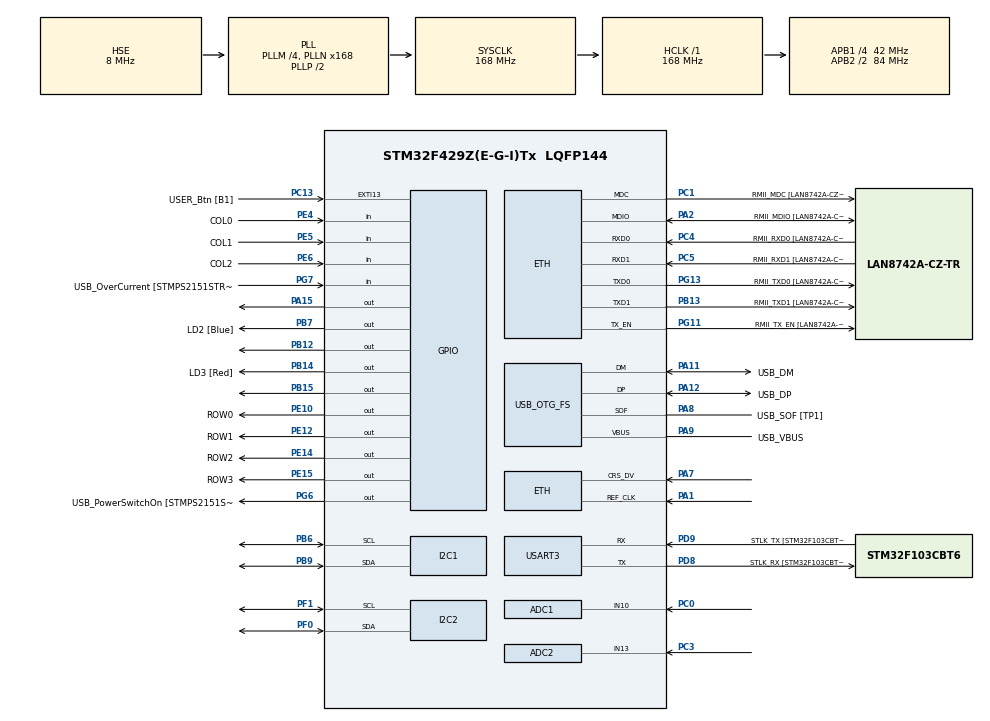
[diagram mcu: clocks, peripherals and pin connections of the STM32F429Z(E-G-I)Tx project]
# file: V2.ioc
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ADC1.Channel-12\#ChannelRegularConversion=ADC_CHANNEL_10
ADC1.ClockPrescaler=ADC_CLOCK_SYNC_PCLK_DIV4
ADC1.ContinuousConvMode=DISABLE
ADC1.DMAContinuousRequests=DISABLE
ADC1.DataAlign=ADC_DATAALIGN_RIGHT
ADC1.DiscontinuousConvMode=DISABLE
ADC1.EOCSelection=ADC_EOC_SINGLE_CONV
ADC1.EnableAnalogWatchDog=false
ADC1.ExternalTrigConv=ADC_SOFTWARE_START
ADC1.ExternalTrigConvEdge=ADC_EXTERNALTRIGCONVEDGE_NONE
ADC1.InjNumberOfConversion=0
ADC1.NbrOfConversion=1
ADC1.NbrOfConversionFlag=1
ADC1.Rank-12\#ChannelRegularConversion=1
ADC1.Resolution=ADC_RESOLUTION_12B
ADC1.SamplingTime-12\#ChannelRegularConversion=ADC_SAMPLETIME_3CYCLES
ADC1.ScanConvMode=DISABLE
ADC1.master=1
ADC2.Channel-0\#ChannelRegularConversion=ADC_CHANNEL_13
ADC2.NbrOfConversionFlag=1
ADC2.Rank-0\#ChannelRegularConversion=1
ADC2.SamplingTime-0\#ChannelRegularConversion=ADC_SAMPLETIME_3CYCLES
ETH.MediaInterface=ETH_MEDIA_INTERFACE_RMII
FREERTOS.INCLUDE_vTaskDelayUntil=1
FREERTOS.Tasks01=defaultTask,0,128,StartDefaultTask,Default,NULL,Dynamic,NULL,NULL;KeyboardListen,-3,128,KeyboardListenCallback,Default,NULL,Dynamic,NULL,NULL
FREERTOS.configTIMER_TASK_PRIORITY=4
FREERTOS.configUSE_TIMERS=1
Mcu.Family=STM32F4
Mcu.Name=STM32F429Z(E-G-I)Tx
Mcu.Package=LQFP144
NVIC.OTG_FS_IRQn=true\:5\:0\:false\:false\:true\:true\:true
NVIC.PriorityGroup=NVIC_PRIORITYGROUP_4
PA1.Mode=RMII
PA1.Signal=ETH_REF_CLK
PA10.GPIO_Label=USB_ID
PA10.Signal=USB_OTG_FS_ID
PA11.GPIO_Label=USB_DM
PA11.Mode=Device_Only
PA11.Signal=USB_OTG_FS_DM
PA12.GPIO_Label=USB_DP
PA12.Mode=Device_Only
PA12.Signal=USB_OTG_FS_DP
PA13.GPIO_Label=TMS
PA13.Mode=Serial_Wire
PA13.Signal=SYS_JTMS-SWDIO
PA14.GPIO_Label=TCK
PA14.Mode=Serial_Wire
PA14.Signal=SYS_JTCK-SWCLK
PA15.Signal=GPIO_Output
PA2.GPIO_Label=RMII_MDIO [LAN8742A-CZ-TR_MDIO]
PA2.Mode=RMII
PA2.Signal=ETH_MDIO
PA7.Mode=RMII
PA7.Signal=ETH_CRS_DV
PA8.GPIO_Label=USB_SOF [TP1]
PA8.Mode=Activate_SOF_FS
PA8.Signal=USB_OTG_FS_SOF
PA9.GPIO_Label=USB_VBUS
PA9.Mode=Activate_VBUS
PA9.Signal=USB_OTG_FS_VBUS
PB12.Signal=GPIO_Output
PB13.GPIO_Label=RMII_TXD1 [LAN8742A-CZ-TR_TXD1]
PB13.Mode=RMII
PB13.Signal=ETH_TXD1
PB14.GPIO_Label=LD3 [Red]
PB14.Signal=GPIO_Output
PB15.Signal=GPIO_Output
PB6.Mode=I2C
PB6.Signal=I2C1_SCL
PB7.GPIO_Label=LD2 [Blue]
PB7.Signal=GPIO_Output
PB9.Mode=I2C
PB9.Signal=I2C1_SDA
PC0.Signal=ADCx_IN10
PC1.GPIO_Label=RMII_MDC [LAN8742A-CZ-TR_MDC]
PC1.Mode=RMII
PC1.Signal=ETH_MDC
PC13.GPIO_Label=USER_Btn [B1]
PC13.Signal=GPXTI13
PC14/OSC32_IN.Mode=LSE-External-Oscillator
PC14/OSC32_IN.Signal=RCC_OSC32_IN
PC15/OSC32_OUT.Mode=LSE-External-Oscillator
PC15/OSC32_OUT.Signal=RCC_OSC32_OUT
PC3.Signal=ADCx_IN13
PC4.GPIO_Label=RMII_RXD0 [LAN8742A-CZ-TR_RXD0]
PC4.Mode=RMII
PC4.Signal=ETH_RXD0
PC5.GPIO_Label=RMII_RXD1 [LAN8742A-CZ-TR_RXD1]
PC5.Mode=RMII
PC5.Signal=ETH_RXD1
PD8.GPIO_Label=STLK_RX [STM32F103CBT6_PA3]
PD8.Mode=Asynchronous
PD8.Signal=USART3_TX
PD9.GPIO_Label=STLK_TX [STM32F103CBT6_PA2]
PD9.Mode=Asynchronous
PD9.Signal=USART3_RX
PE10.GPIO_Label=ROW0
PE10.Signal=GPIO_Output
PE12.GPIO_Label=ROW1
PE12.Signal=GPIO_Output
PE14.GPIO_Label=ROW2
PE14.Signal=GPIO_Output
PE15.GPIO_Label=ROW3
PE15.Signal=GPIO_Output
PE4.GPIO_Label=COL0
PE4.GPIO_PuPd=GPIO_PULLDOWN
PE4.Signal=GPIO_Input
PE5.GPIO_Label=COL1
PE5.GPIO_PuPd=GPIO_PULLDOWN
PE5.Signal=GPIO_Input
PE6.GPIO_Label=COL2
PE6.GPIO_PuPd=GPIO_PULLDOWN
PE6.Signal=GPIO_Input
PF0.Mode=I2C
PF0.Signal=I2C2_SDA
PF1.Mode=I2C
PF1.Signal=I2C2_SCL
PG11.GPIO_Label=RMII_TX_EN [LAN8742A-CZ-TR_TXEN]
PG11.Mode=RMII
PG11.Signal=ETH_TX_EN
PG13.GPIO_Label=RMII_TXD0 [LAN8742A-CZ-TR_TXD0]
PG13.Mode=RMII
PG13.Signal=ETH_TXD0
PG6.GPIO_Label=USB_PowerSwitchOn [STMPS2151STR_EN]
PG6.Signal=GPIO_Output
PG7.GPIO_Label=USB_OverCurrent [STMPS2151STR_FAULT]
PG7.Signal=GPIO_Input
PH0/OSC_IN.GPIO_Label=MCO [STM32F103CBT6_PA8]
PH0/OSC_IN.Mode=HSE-External-Clock-Source
PH0/OSC_IN.Signal=RCC_OSC_IN
PH1/OSC_OUT.Mode=HSE-External-Clock-Source
PH1/OSC_OUT.Signal=RCC_OSC_OUT
ProjectManager.HeapSize=0x200
ProjectManager.StackSize=0x400
ProjectManager.TargetToolchain=SW4STM32
RCC.48MHZClocksFreq_Value=48000000
RCC.AHBFreq_Value=168000000
RCC.APB1CLKDivider=RCC_HCLK_DIV4
RCC.APB1Freq_Value=42000000
RCC.APB1TimFreq_Value=84000000
RCC.APB2CLKDivider=RCC_HCLK_DIV2
RCC.APB2Freq_Value=84000000
RCC.APB2TimCLKDivider=1
RCC.APB2TimFreq_Value=84000000
RCC.CortexFreq_Value=168000000
RCC.HCLKFreq_Value=168000000
RCC.HSE_VALUE=8000000
RCC.HSI_VALUE=16000000
RCC.PLLM=4
RCC.PLLMUL=RCC_PLL_MUL9
RCC.PLLN=168
RCC.PLLQ=7
RCC.PRESCALERUSB=RCC_USBCLKSOURCE_PLL_DIV1_5
RCC.SYSCLKFreq_VALUE=168000000
RCC.SYSCLKSource=RCC_SYSCLKSOURCE_PLLCLK
RCC.SYSCLKSourceVirtual=RCC_SYSCLKSOURCE_PLLCLK
RCC.USBFreq_Value=48000000
RCC.VCOOutputFreq_Value=336000000
SH.ADCx_IN10.0=ADC1_IN10,IN10
SH.ADCx_IN13.0=ADC2_IN13,IN13
USART3.VirtualMode=VM_ASYNC
USB_DEVICE.CLASS_NAME_FS=HID
USB_DEVICE.PRODUCT_STRING_HID_FS=STM32 Mech Keyboard
USB_DEVICE.USBD_SUPPORT_USER_STRING-HID_FS=1
USB_DEVICE.VirtualMode-HID_FS=Hid
USB_DEVICE.VirtualModeFS=Hid_FS
USB_OTG_FS.VirtualMode=Device_Only
VP_FREERTOS_VS_ENABLE.Mode=Enabled
VP_USB_DEVICE_VS_USB_DEVICE_HID_FS.Mode=HID_FS
board=NUCLEO-F429ZI

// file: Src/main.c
/**
  ******************************************************************************
  * File Name          : main.c
  * Description        : Main program body
  ******************************************************************************
  * This notice applies to any and all portions of this file
  * that are not between comment pairs USER CODE BEGIN and
  * USER CODE END. Other portions of this file, whether
  * inserted by the user or by software development tools
  * are owned by their respective copyright owners.
  *
  * Copyright (c) 2019 STMicroelectronics International N.V.
  * All rights reserved.
  *
  * Redistribution and use in source and binary forms, with or without
  * modification, are permitted, provided that the following conditions are met:
  *
  * 1. Redistribution of source code must retain the above copyright notice,
  *    this list of conditions and the following disclaimer.
  * 2. Redistributions in binary form must reproduce the above copyright notice,
  *    this list of conditions and the following disclaimer in the documentation
  *    and/or other materials provided with the distribution.
  * 3. Neither the name of STMicroelectronics nor the names of other
  *    contributors to this software may be used to endorse or promote products
  *    derived from this software without specific written permission.
  * 4. This software, including modifications and/or derivative works of this
  *    software, must execute solely and exclusively on microcontroller or
  *    microprocessor devices manufactured by or for STMicroelectronics.
  * 5. Redistribution and use of this software other than as permitted under
  *    this license is void and will automatically terminate your rights under
  *    this license.
  *
  * THIS SOFTWARE IS PROVIDED BY STMICROELECTRONICS AND CONTRIBUTORS "AS IS"
  * AND ANY EXPRESS, IMPLIED OR STATUTORY WARRANTIES, INCLUDING, BUT NOT
  * LIMITED TO, THE IMPLIED WARRANTIES OF MERCHANTABILITY, FITNESS FOR A
  * PARTICULAR PURPOSE AND NON-INFRINGEMENT OF THIRD PARTY INTELLECTUAL PROPERTY
  * RIGHTS ARE DISCLAIMED TO THE FULLEST EXTENT PERMITTED BY LAW. IN NO EVENT
  * SHALL STMICROELECTRONICS OR CONTRIBUTORS BE LIABLE FOR ANY DIRECT, INDIRECT,
  * INCIDENTAL, SPECIAL, EXEMPLARY, OR CONSEQUENTIAL DAMAGES (INCLUDING, BUT NOT
  * LIMITED TO, PROCUREMENT OF SUBSTITUTE GOODS OR SERVICES; LOSS OF USE, DATA,
  * OR PROFITS; OR BUSINESS INTERRUPTION) HOWEVER CAUSED AND ON ANY THEORY OF
  * LIABILITY, WHETHER IN CONTRACT, STRICT LIABILITY, OR TORT (INCLUDING
  * NEGLIGENCE OR OTHERWISE) ARISING IN ANY WAY OUT OF THE USE OF THIS SOFTWARE,
  * EVEN IF ADVISED OF THE POSSIBILITY OF SUCH DAMAGE.
  *
  ******************************************************************************
  */
#include "main.h"
#include "stm32f4xx_hal.h"
#include "cmsis_os.h"
#include "usb_device.h"

/* USER CODE BEGIN Includes */
//#include "AT24Cxx_stm32_hal.h"
#include <string.h>
//layers & init
#include "keymap.h"
#include "keymap_defaults.h"
#include "macro.h"
#include "SN54HC595.h"
#include "send.h"
#include "states.h"
#include "LEDs.h"

//hardware devices
#include "keyboard.h"

//LCD
#include "ssd1306.h"
#include "screen.h"
//LED
#include "visEffect.h"
/* USER CODE END Includes */

ADC_HandleTypeDef hadc1;
ADC_HandleTypeDef hadc2;

ETH_HandleTypeDef heth;

I2C_HandleTypeDef hi2c1;
I2C_HandleTypeDef hi2c2;

UART_HandleTypeDef huart3;

osThreadId defaultTaskHandle;
osThreadId KeyboardListenHandle;

/* USER CODE BEGIN PV */
/* Private variables ---------------------------------------------------------*/
osThreadId ADCListenHandle;
osThreadId CLIListenHandle;
osThreadId SendHandle;
osThreadId StatesHandle;
osThreadId LEDHandle;
//AT24Cxx_devices eeprom_devs;

/* USER CODE END PV */

void SystemClock_Config(void);
static void MX_GPIO_Init(void);
static void MX_USART3_UART_Init(void);
static void MX_ETH_Init(void);
static void MX_I2C2_Init(void);
static void MX_ADC1_Init(void);
static void MX_I2C1_Init(void);
static void MX_ADC2_Init(void);
void StartDefaultTask(void const * argument);
void KeyboardListenCallback(void const * argument);

/* USER CODE BEGIN PFP */
/* Private function prototypes -----------------------------------------------*/
void MouseListenCallback(void const * argument);
void CLIListenCallback(void const * argument);
void StatesCallback(void const *arguemnt);
void LEDCallback(void const *argument);
/* USER CODE END PFP */

int main(void)
{

  /* MCU Configuration----------------------------------------------------------*/

  /* Reset of all peripherals, Initializes the Flash interface and the Systick. */
  HAL_Init();

  /* Configure the system clock */
  SystemClock_Config();

  /* Initialize all configured peripherals */
  MX_GPIO_Init();
  MX_USART3_UART_Init();
  MX_ETH_Init();
  MX_I2C2_Init();
  MX_ADC1_Init();
  MX_I2C1_Init();
  MX_ADC2_Init();

  /* USER CODE BEGIN 2 */

	keyboardInit();
	send_init();
	SN54HC595_init();
	ssd1306_init();
	screen_init();

	//Keymap init
	keymap_list_init(&keymap_init0);
	keymap_list_append_layer(&keymap_init1);
	keymap_list_append_layer(&keymap_init2);

	//TODO

	screen_add_line("Hello world this is a long line");

	screen_add_line("World");

	screen_add_line("This is a long line");

	macro_add_new_entry("first test macro yo",
	  			HID_KEYBOARD_SC_T);

	macro_add_new_entry("pew pew this is a macro and it can use all DA SYMBOLZZZ !@#$%^*()_+",
			HID_KEYBOARD_SC_7_AND_AMPERSAND);

	//CLI
//	screen_init_t CLI_test_init =
//	{ .rows = 3, .cols = 11, .row_height = 20, .x_offset = 3, .y_offset = 3,
//			.LCD_dev = keyboard_devs->LCD, .font = keyboard_devs->LCD->font,
//			.message = "123456789123456789123456789", .cursor_period = 750, };
//
//	keyboard_devs->screen = screen_init(&CLI_test_init);*/

	//TODO
/*	visInit(keyboard_devs);*/

	//TODO
	/*AT24Cxx_init(&eeprom_devs, 7);

	volatile uint8_t data = 20;
	volatile AT24Cxx_ERR_TypeDef ret;
	ret = AT24Cxx_write_byte( AT24Cxx_get_dev(&eeprom_devs, 0) , &data, 0x11 );

	volatile uint8_t read_data = 0;
	ret = AT24Cxx_read_byte( AT24Cxx_get_dev(&eeprom_devs, 0), &read_data, 0x11 );

	while(HAL_I2C_Mem_Write(&hi2c2, 0b10101110, 0xB1 ,I2C_MEMADD_SIZE_8BIT
			, 0x11, 1,1000)!= HAL_OK);

	while(HAL_I2C_Mem_Read(&hi2c2, 0b10101111, 0xB1 ,I2C_MEMADD_SIZE_8BIT
				, &read_data, 1,1000)!= HAL_OK);*/

  /* USER CODE END 2 */

  /* Create the thread(s) */
  /* definition and creation of defaultTask */
  osThreadDef(defaultTask, StartDefaultTask, osPriorityNormal, 0, 128);
  defaultTaskHandle = osThreadCreate(osThread(defaultTask), NULL);

  /* definition and creation of KeyboardListen */
//  osThreadDef(KeyboardListen, KeyboardListenCallback, osPriorityNormal, 0, 128);
//  KeyboardListenHandle = osThreadCreate(osThread(KeyboardListen), NULL);

  /* USER CODE BEGIN RTOS_THREADS */
	osThreadDef(StatesHandle, StatesCallback, osPriorityNormal, 0, 128);
	StatesHandle = osThreadCreate(osThread(StatesHandle), NULL);
	osThreadDef(LEDHandle, LEDCallback, osPriorityNormal, 0, 128);
	LEDHandle = osThreadCreate(osThread(LEDHandle), NULL);
//  osThreadDef(ADCListen, MouseListenCallback, osPriorityIdle, 0, 128);
//  ADCListenHandle = osThreadCreate(osThread(ADCListen), NULL);
//	osThreadDef(CLIListen, CLIListenCallback, osPriorityIdle, 0, 128);
//	CLIListenHandle = osThreadCreate(osThread(CLIListen), NULL);
  /* USER CODE END RTOS_THREADS */

  /* Start scheduler */
  osKernelStart();

  /* We should never get here as control is now taken by the scheduler */

  /* Infinite loop */
	while (1)
	{

	}

}

/** System Clock Configuration
*/
void SystemClock_Config(void)
{

  RCC_OscInitTypeDef RCC_OscInitStruct;
  RCC_ClkInitTypeDef RCC_ClkInitStruct;

    /**Configure the main internal regulator output voltage
    */
  __HAL_RCC_PWR_CLK_ENABLE();

  __HAL_PWR_VOLTAGESCALING_CONFIG(PWR_REGULATOR_VOLTAGE_SCALE1);

    /**Initializes the CPU, AHB and APB busses clocks
    */
  RCC_OscInitStruct.OscillatorType = RCC_OSCILLATORTYPE_HSE;
  RCC_OscInitStruct.HSEState = RCC_HSE_BYPASS;
  RCC_OscInitStruct.PLL.PLLState = RCC_PLL_ON;
  RCC_OscInitStruct.PLL.PLLSource = RCC_PLLSOURCE_HSE;
  RCC_OscInitStruct.PLL.PLLM = 4;
  RCC_OscInitStruct.PLL.PLLN = 168;
  RCC_OscInitStruct.PLL.PLLP = RCC_PLLP_DIV2;
  RCC_OscInitStruct.PLL.PLLQ = 7;
  if (HAL_RCC_OscConfig(&RCC_OscInitStruct) != HAL_OK)
  {
    _Error_Handler(__FILE__, __LINE__);
  }

    /**Initializes the CPU, AHB and APB busses clocks
    */
  RCC_ClkInitStruct.ClockType = RCC_CLOCKTYPE_HCLK|RCC_CLOCKTYPE_SYSCLK
                              |RCC_CLOCKTYPE_PCLK1|RCC_CLOCKTYPE_PCLK2;
  RCC_ClkInitStruct.SYSCLKSource = RCC_SYSCLKSOURCE_PLLCLK;
  RCC_ClkInitStruct.AHBCLKDivider = RCC_SYSCLK_DIV1;
  RCC_ClkInitStruct.APB1CLKDivider = RCC_HCLK_DIV4;
  RCC_ClkInitStruct.APB2CLKDivider = RCC_HCLK_DIV2;

  if (HAL_RCC_ClockConfig(&RCC_ClkInitStruct, FLASH_LATENCY_5) != HAL_OK)
  {
    _Error_Handler(__FILE__, __LINE__);
  }

    /**Configure the Systick interrupt time
    */
  HAL_SYSTICK_Config(HAL_RCC_GetHCLKFreq()/1000);

    /**Configure the Systick
    */
  HAL_SYSTICK_CLKSourceConfig(SYSTICK_CLKSOURCE_HCLK);

  /* SysTick_IRQn interrupt configuration */
  HAL_NVIC_SetPriority(SysTick_IRQn, 15, 0);
}

/* ADC1 init function */
static void MX_ADC1_Init(void)
{

  ADC_ChannelConfTypeDef sConfig;

    /**Configure the global features of the ADC (Clock, Resolution, Data Alignment and number of conversion)
    */
  hadc1.Instance = ADC1;
  hadc1.Init.ClockPrescaler = ADC_CLOCK_SYNC_PCLK_DIV4;
  hadc1.Init.Resolution = ADC_RESOLUTION_12B;
  hadc1.Init.ScanConvMode = DISABLE;
  hadc1.Init.ContinuousConvMode = DISABLE;
  hadc1.Init.DiscontinuousConvMode = DISABLE;
  hadc1.Init.ExternalTrigConvEdge = ADC_EXTERNALTRIGCONVEDGE_NONE;
  hadc1.Init.ExternalTrigConv = ADC_SOFTWARE_START;
  hadc1.Init.DataAlign = ADC_DATAALIGN_RIGHT;
  hadc1.Init.NbrOfConversion = 1;
  hadc1.Init.DMAContinuousRequests = DISABLE;
  hadc1.Init.EOCSelection = ADC_EOC_SINGLE_CONV;
  if (HAL_ADC_Init(&hadc1) != HAL_OK)
  {
    _Error_Handler(__FILE__, __LINE__);
  }

    /**Configure for the selected ADC regular channel its corresponding rank in the sequencer and its sample time.
    */
  sConfig.Channel = ADC_CHANNEL_10;
  sConfig.Rank = 1;
  sConfig.SamplingTime = ADC_SAMPLETIME_3CYCLES;
  if (HAL_ADC_ConfigChannel(&hadc1, &sConfig) != HAL_OK)
  {
    _Error_Handler(__FILE__, __LINE__);
  }

}

/* ADC2 init function */
static void MX_ADC2_Init(void)
{

  ADC_ChannelConfTypeDef sConfig;

    /**Configure the global features of the ADC (Clock, Resolution, Data Alignment and number of conversion)
    */
  hadc2.Instance = ADC2;
  hadc2.Init.ClockPrescaler = ADC_CLOCK_SYNC_PCLK_DIV4;
  hadc2.Init.Resolution = ADC_RESOLUTION_12B;
  hadc2.Init.ScanConvMode = DISABLE;
  hadc2.Init.ContinuousConvMode = DISABLE;
  hadc2.Init.DiscontinuousConvMode = DISABLE;
  hadc2.Init.ExternalTrigConvEdge = ADC_EXTERNALTRIGCONVEDGE_NONE;
  hadc2.Init.ExternalTrigConv = ADC_SOFTWARE_START;
  hadc2.Init.DataAlign = ADC_DATAALIGN_RIGHT;
  hadc2.Init.NbrOfConversion = 1;
  hadc2.Init.DMAContinuousRequests = DISABLE;
  hadc2.Init.EOCSelection = ADC_EOC_SINGLE_CONV;
  if (HAL_ADC_Init(&hadc2) != HAL_OK)
  {
    _Error_Handler(__FILE__, __LINE__);
  }

    /**Configure for the selected ADC regular channel its corresponding rank in the sequencer and its sample time.
    */
  sConfig.Channel = ADC_CHANNEL_13;
  sConfig.Rank = 1;
  sConfig.SamplingTime = ADC_SAMPLETIME_3CYCLES;
  if (HAL_ADC_ConfigChannel(&hadc2, &sConfig) != HAL_OK)
  {
    _Error_Handler(__FILE__, __LINE__);
  }

}

/* ETH init function */
static void MX_ETH_Init(void)
{

   uint8_t MACAddr[6] ;

  heth.Instance = ETH;
  heth.Init.AutoNegotiation = ETH_AUTONEGOTIATION_ENABLE;
  heth.Init.PhyAddress = LAN8742A_PHY_ADDRESS;
  MACAddr[0] = 0x00;
  MACAddr[1] = 0x80;
  MACAddr[2] = 0xE1;
  MACAddr[3] = 0x00;
  MACAddr[4] = 0x00;
  MACAddr[5] = 0x00;
  heth.Init.MACAddr = &MACAddr[0];
  heth.Init.RxMode = ETH_RXPOLLING_MODE;
  heth.Init.ChecksumMode = ETH_CHECKSUM_BY_HARDWARE;
  heth.Init.MediaInterface = ETH_MEDIA_INTERFACE_RMII;

  if (HAL_ETH_Init(&heth) != HAL_OK)
  {
    _Error_Handler(__FILE__, __LINE__);
  }

}

/* I2C1 init function */
static void MX_I2C1_Init(void)
{

  hi2c1.Instance = I2C1;
  hi2c1.Init.ClockSpeed = 100000;
  hi2c1.Init.DutyCycle = I2C_DUTYCYCLE_2;
  hi2c1.Init.OwnAddress1 = 0;
  hi2c1.Init.AddressingMode = I2C_ADDRESSINGMODE_7BIT;
  hi2c1.Init.DualAddressMode = I2C_DUALADDRESS_DISABLE;
  hi2c1.Init.OwnAddress2 = 0;
  hi2c1.Init.GeneralCallMode = I2C_GENERALCALL_DISABLE;
  hi2c1.Init.NoStretchMode = I2C_NOSTRETCH_DISABLE;
  if (HAL_I2C_Init(&hi2c1) != HAL_OK)
  {
    _Error_Handler(__FILE__, __LINE__);
  }

}

/* I2C2 init function */
static void MX_I2C2_Init(void)
{

  hi2c2.Instance = I2C2;
  hi2c2.Init.ClockSpeed = 100000;
  hi2c2.Init.DutyCycle = I2C_DUTYCYCLE_2;
  hi2c2.Init.OwnAddress1 = 0;
  hi2c2.Init.AddressingMode = I2C_ADDRESSINGMODE_7BIT;
  hi2c2.Init.DualAddressMode = I2C_DUALADDRESS_DISABLE;
  hi2c2.Init.OwnAddress2 = 0;
  hi2c2.Init.GeneralCallMode = I2C_GENERALCALL_DISABLE;
  hi2c2.Init.NoStretchMode = I2C_NOSTRETCH_DISABLE;
  if (HAL_I2C_Init(&hi2c2) != HAL_OK)
  {
    _Error_Handler(__FILE__, __LINE__);
  }

}

/* USART3 init function */
static void MX_USART3_UART_Init(void)
{

  huart3.Instance = USART3;
  huart3.Init.BaudRate = 115200;
  huart3.Init.WordLength = UART_WORDLENGTH_8B;
  huart3.Init.StopBits = UART_STOPBITS_1;
  huart3.Init.Parity = UART_PARITY_NONE;
  huart3.Init.Mode = UART_MODE_TX_RX;
  huart3.Init.HwFlowCtl = UART_HWCONTROL_NONE;
  huart3.Init.OverSampling = UART_OVERSAMPLING_16;
  if (HAL_UART_Init(&huart3) != HAL_OK)
  {
    _Error_Handler(__FILE__, __LINE__);
  }

}

/** Configure pins as
        * Analog
        * Input
        * Output
        * EVENT_OUT
        * EXTI
*/
static void MX_GPIO_Init(void)
{

  GPIO_InitTypeDef GPIO_InitStruct;

  /* GPIO Ports Clock Enable */
  __HAL_RCC_GPIOE_CLK_ENABLE();
  __HAL_RCC_GPIOC_CLK_ENABLE();
  __HAL_RCC_GPIOF_CLK_ENABLE();
  __HAL_RCC_GPIOH_CLK_ENABLE();
  __HAL_RCC_GPIOA_CLK_ENABLE();
  __HAL_RCC_GPIOB_CLK_ENABLE();
  __HAL_RCC_GPIOD_CLK_ENABLE();
  __HAL_RCC_GPIOG_CLK_ENABLE();

  /*Configure GPIO pin Output Level */
  HAL_GPIO_WritePin(GPIOE, ROW0_Pin|ROW1_Pin|ROW2_Pin|ROW3_Pin, GPIO_PIN_RESET);

  /*Configure GPIO pin Output Level */
  HAL_GPIO_WritePin(GPIOB, GPIO_PIN_12|LD3_Pin|GPIO_PIN_15|LD2_Pin, GPIO_PIN_RESET);

  /*Configure GPIO pin Output Level */
  HAL_GPIO_WritePin(USB_PowerSwitchOn_GPIO_Port, USB_PowerSwitchOn_Pin, GPIO_PIN_RESET);

  /*Configure GPIO pin Output Level */
  HAL_GPIO_WritePin(GPIOA, GPIO_PIN_15, GPIO_PIN_RESET);

  /*Configure GPIO pins : COL0_Pin COL1_Pin COL2_Pin */
  GPIO_InitStruct.Pin = COL0_Pin|COL1_Pin|COL2_Pin;
  GPIO_InitStruct.Mode = GPIO_MODE_INPUT;
  GPIO_InitStruct.Pull = GPIO_PULLDOWN;
  HAL_GPIO_Init(GPIOE, &GPIO_InitStruct);

  /*Configure GPIO pin : USER_Btn_Pin */
  GPIO_InitStruct.Pin = USER_Btn_Pin;
  GPIO_InitStruct.Mode = GPIO_MODE_IT_RISING;
  GPIO_InitStruct.Pull = GPIO_NOPULL;
  HAL_GPIO_Init(USER_Btn_GPIO_Port, &GPIO_InitStruct);

  /*Configure GPIO pins : ROW0_Pin ROW1_Pin ROW2_Pin ROW3_Pin */
  GPIO_InitStruct.Pin = ROW0_Pin|ROW1_Pin|ROW2_Pin|ROW3_Pin;
  GPIO_InitStruct.Mode = GPIO_MODE_OUTPUT_PP;
  GPIO_InitStruct.Pull = GPIO_NOPULL;
  GPIO_InitStruct.Speed = GPIO_SPEED_FREQ_LOW;
  HAL_GPIO_Init(GPIOE, &GPIO_InitStruct);

  /*Configure GPIO pins : PB12 LD3_Pin PB15 LD2_Pin */
  GPIO_InitStruct.Pin = GPIO_PIN_12|LD3_Pin|GPIO_PIN_15|LD2_Pin;
  GPIO_InitStruct.Mode = GPIO_MODE_OUTPUT_PP;
  GPIO_InitStruct.Pull = GPIO_NOPULL;
  GPIO_InitStruct.Speed = GPIO_SPEED_FREQ_LOW;
  HAL_GPIO_Init(GPIOB, &GPIO_InitStruct);

  /*Configure GPIO pin : USB_PowerSwitchOn_Pin */
  GPIO_InitStruct.Pin = USB_PowerSwitchOn_Pin;
  GPIO_InitStruct.Mode = GPIO_MODE_OUTPUT_PP;
  GPIO_InitStruct.Pull = GPIO_NOPULL;
  GPIO_InitStruct.Speed = GPIO_SPEED_FREQ_LOW;
  HAL_GPIO_Init(USB_PowerSwitchOn_GPIO_Port, &GPIO_InitStruct);

  /*Configure GPIO pin : USB_OverCurrent_Pin */
  GPIO_InitStruct.Pin = USB_OverCurrent_Pin;
  GPIO_InitStruct.Mode = GPIO_MODE_INPUT;
  GPIO_InitStruct.Pull = GPIO_NOPULL;
  HAL_GPIO_Init(USB_OverCurrent_GPIO_Port, &GPIO_InitStruct);

  /*Configure GPIO pin : PA15 */
  GPIO_InitStruct.Pin = GPIO_PIN_15;
  GPIO_InitStruct.Mode = GPIO_MODE_OUTPUT_PP;
  GPIO_InitStruct.Pull = GPIO_NOPULL;
  GPIO_InitStruct.Speed = GPIO_SPEED_FREQ_LOW;
  HAL_GPIO_Init(GPIOA, &GPIO_InitStruct);

}

/* USER CODE BEGIN 4 */
/* ADCListenCallback function */
void MouseListenCallback(void const * argument)
{
//	TickType_t xLastWakeTime = xTaskGetTickCount();
//	const TickType_t xPeriod = 5;

	/* Infinite loop */
	for (;;)
	{
#ifdef ENABLE_MOUSE
	//TODO
	/*vTaskDelayUntil(&xLastWakeTime, xPeriod);

	if(ADC_retrieve_values(&mouse_data) == mouse_ok)
		process_mouse_buf(&mouse_data);

	clear_mouse_report(&mouse_data);
	process_mouse_flags(&mouse_data);

		//ADC_display_values(&mouse_data.mouse_buf.x, &mouse_data.mouse_buf.y);*/
#endif
	}
}

void CLIListenCallback(void const *argument)
{
	TickType_t xLastWakeTime = xTaskGetTickCount();
	TickType_t xPeriod = 100;

	for (;;)
	{
		vTaskDelayUntil(&xLastWakeTime, xPeriod);
		//TODO
//		keyboard_devs->screen->update(keyboard_devs->screen);
//		keyboard_devs->screen->draw_cursor(keyboard_devs->screen);
	}
}

void StatesCallback(void  const *argument)
{
	TickType_t xLastWakeTime = xTaskGetTickCount();
	TickType_t xPeriod = 20;
	states_init();
	for(;;)
	{
		states_run();

		xPeriod = STATES_PERIOD - (xLastWakeTime - xTaskGetTickCount());
		vTaskDelayUntil(&xLastWakeTime, xPeriod);
	}
}

void LEDCallback(void const *argument)
{
	TickType_t xLastWakeTime = xTaskGetTickCount();
	TickType_t xPeriod = 20;

	LEDsInit();

	for(;;){
		LEDsRun();

		xPeriod = STATES_PERIOD - (xLastWakeTime - xTaskGetTickCount());
		vTaskDelayUntil(&xLastWakeTime, xPeriod);
	}
}
/* USER CODE END 4 */

/* StartDefaultTask function */
void StartDefaultTask(void const * argument)
{
  /* init code for USB_DEVICE */
  MX_USB_DEVICE_Init();

  /* USER CODE BEGIN 5 */
	/* Infinite loop */
	TickType_t xLastWakeTime = xTaskGetTickCount();
	const TickType_t xPeriod = 2000;
	for (;;)
	{
		vTaskDelayUntil(&xLastWakeTime, xPeriod);
	  	macro_run_sc(HID_KEYBOARD_SC_7_AND_AMPERSAND);

		//TODO LEDS
//		visHandle(keyboard_devs);
	}
  /* USER CODE END 5 */
}

/* KeyboardListenCallback function */
void KeyboardListenCallback(void const * argument)
{
  /* USER CODE BEGIN KeyboardListenCallback */
//	TickType_t xLastWakeTime = xTaskGetTickCount();
//	TickType_t xPeriod = 10;
//
//	/* Infinite loop */
//	for (;;)
//	{
//		//HID TEST
//		if (keyboard_scan_matrix() == 0) /* if keys were pressed */
//			keyboard_process_scan_buf();		/* convert row-col to actual keys */
//
//		xPeriod = SCAN_PERIOD - (xLastWakeTime - xTaskGetTickCount());
//		vTaskDelayUntil(&xLastWakeTime, xPeriod);
//
//		//STATE MACHINE HERE
////		clear_keyboard_report(keyboard_devs->keyboard_HID);
////		process_keyboard_flags(keyboard_devs->keyboard_HID);
//	}
  /* USER CODE END KeyboardListenCallback */
}

void _Error_Handler(char * file, int line)
{
	while (1)
	{
	}
}

/************************ (C) COPYRIGHT STMicroelectronics *****END OF FILE****/
